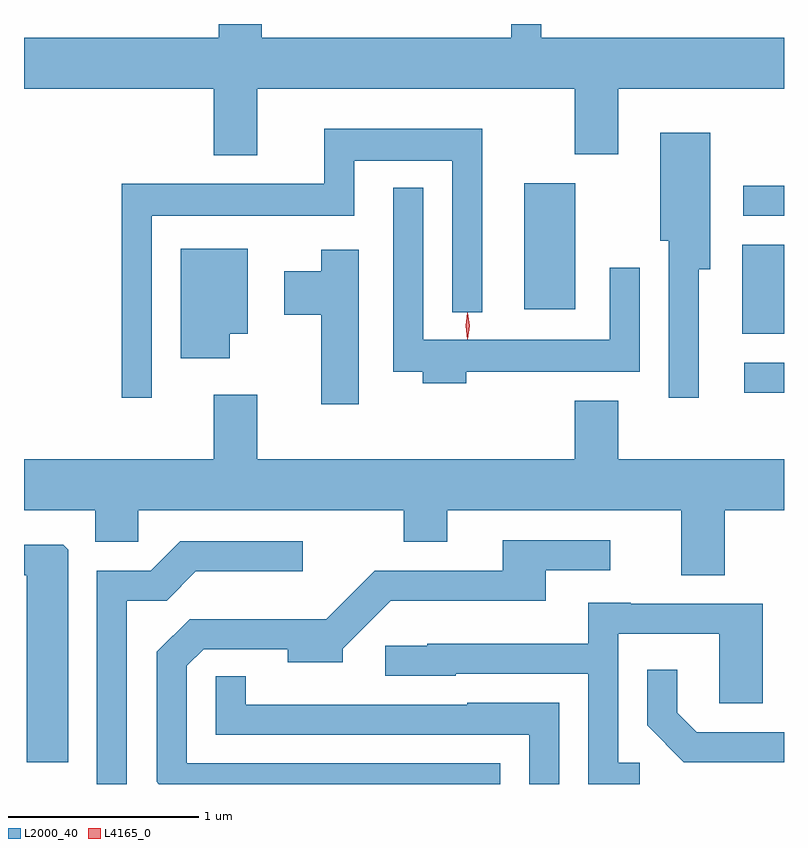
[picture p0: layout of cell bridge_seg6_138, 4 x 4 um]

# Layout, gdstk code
import gdstk
lib = gdstk.Library(unit=1e-6, precision=1e-09)
def R(c, l, rs):  # rectangles x0, y0, x1, y1
    for r in rs: c.add(gdstk.rectangle(r[:2], r[2:], *l))
def P(c, l, *ps):  # polygons
    for p in ps: c.add(gdstk.Polygon(p, *l))
L2000_40 = (2000, 40)
L4165_0 = (4165, 0)

bridge_seg6_138 = lib.new_cell('bridge_seg6_138')
R(bridge_seg6_138, L2000_40, [(1025.233,1659.436,1025.442,1659.594), (1025.221,1659.746,1025.442,1660.214), (1024.076,1659.876,1024.344,1660.539), (1025.228,1660.366,1025.442,1660.524)])
P(bridge_seg6_138, L2000_40, [(1022.669,1661.036),(1024.341,1661.036),(1024.341,1660.691),(1024.569,1660.691),(1024.569,1661.036),(1025.442,1661.036),(1025.442,1661.304),(1024.164,1661.304),(1024.164,1661.376),(1024.006,1661.376),(1024.006,1661.304),(1022.694,1661.304),(1022.694,1661.376),(1022.466,1661.376),(1022.466,1661.304),(1021.442,1661.304),(1021.442,1661.036),(1022.441,1661.036),(1022.441,1660.686),(1022.669,1660.686)],
  [(1022.114,1660.366),(1023.179,1660.366),(1023.179,1660.656),(1023.696,1660.656),(1023.696,1659.858),(1023.854,1659.858),(1023.854,1660.824),(1023.021,1660.824),(1023.021,1660.534),(1021.956,1660.534),(1021.956,1659.408),(1022.114,1659.408)],
  [(1024.994,1660.086),(1025.054,1660.086),(1025.054,1660.804),(1024.791,1660.804),(1024.791,1660.236),(1024.836,1660.236),(1024.836,1659.408),(1024.994,1659.408)],
  [(1023.769,1659.546),(1024.684,1659.546),(1024.684,1660.093),(1024.526,1660.093),(1024.526,1659.714),(1023.544,1659.714),(1023.544,1660.513),(1023.386,1660.513),(1023.386,1659.546),(1023.541,1659.546),(1023.541,1659.486),(1023.769,1659.486)],
  [(1022.524,1659.746),(1022.619,1659.746),(1022.619,1660.194),(1022.266,1660.194),(1022.266,1659.616),(1022.524,1659.616)],
  [(1023.204,1660.189),(1023.006,1660.189),(1023.006,1660.074),(1022.811,1660.074),(1022.811,1659.846),(1023.006,1659.846),(1023.006,1659.376),(1023.204,1659.376)],
  [(1025.129,1658.816),(1025.442,1658.816),(1025.442,1659.084),(1024.569,1659.084),(1024.569,1659.394),(1024.341,1659.394),(1024.341,1659.084),(1022.669,1659.084),(1022.669,1659.424),(1022.441,1659.424),(1022.441,1659.084),(1021.442,1659.084),(1021.442,1658.816),(1021.816,1658.816),(1021.816,1658.651),(1022.044,1658.651),(1022.044,1658.816),(1023.441,1658.816),(1023.441,1658.651),(1023.669,1658.651),(1023.669,1658.816),(1024.901,1658.816),(1024.901,1658.476),(1025.129,1658.476)],
  [(1023.949,1657.484),(1022.299,1657.484),(1022.299,1657.999),(1022.387,1658.086),(1022.831,1658.086),(1022.831,1658.016),(1023.119,1658.016),(1023.119,1658.089),(1023.372,1658.341),(1024.189,1658.341),(1024.189,1658.501),(1024.527,1658.501),(1024.527,1658.659),(1023.961,1658.659),(1023.961,1658.499),(1023.289,1658.499),(1023.034,1658.244),(1022.314,1658.244),(1022.141,1658.072),(1022.141,1657.387),(1022.152,1657.376),(1023.949,1657.376)],
  [(1021.984,1658.341),(1022.192,1658.341),(1022.347,1658.496),(1022.908,1658.496),(1022.908,1658.654),(1022.264,1658.654),(1022.109,1658.499),(1021.826,1658.499),(1021.826,1657.376),(1021.984,1657.376)],
  [(1021.674,1658.609),(1021.649,1658.634),(1021.442,1658.634),(1021.442,1658.476),(1021.456,1658.476),(1021.456,1657.491),(1021.674,1657.491)],
  [(1024.683,1657.489),(1024.569,1657.489),(1024.569,1658.166),(1025.101,1658.166),(1025.101,1657.801),(1025.329,1657.801),(1025.329,1658.324),(1024.635,1658.324),(1024.635,1658.329),(1024.411,1658.329),(1024.411,1658.114),(1023.565,1658.114),(1023.565,1658.104),(1023.343,1658.104),(1023.343,1657.946),(1023.715,1657.946),(1023.715,1657.956),(1024.411,1657.956),(1024.411,1657.376),(1024.683,1657.376)],
  [(1025.442,1657.649),(1024.982,1657.649),(1024.879,1657.752),(1024.879,1657.978),(1024.721,1657.978),(1024.721,1657.684),(1024.914,1657.491),(1025.442,1657.491)],
  [(1024.259,1657.804),(1023.775,1657.804),(1023.775,1657.794),(1022.609,1657.794),(1022.609,1657.943),(1022.451,1657.943),(1022.451,1657.636),(1024.101,1657.636),(1024.101,1657.376),(1024.259,1657.376)])
P(bridge_seg6_138, L4165_0, [(1023.776,1659.717),(1023.767,1659.787),(1023.776,1659.856),(1023.777,1659.856),(1023.777,1659.856),(1023.787,1659.787),(1023.777,1659.717),(1023.777,1659.717)])

lib.write_gds('bridge_seg6_138.gds')
